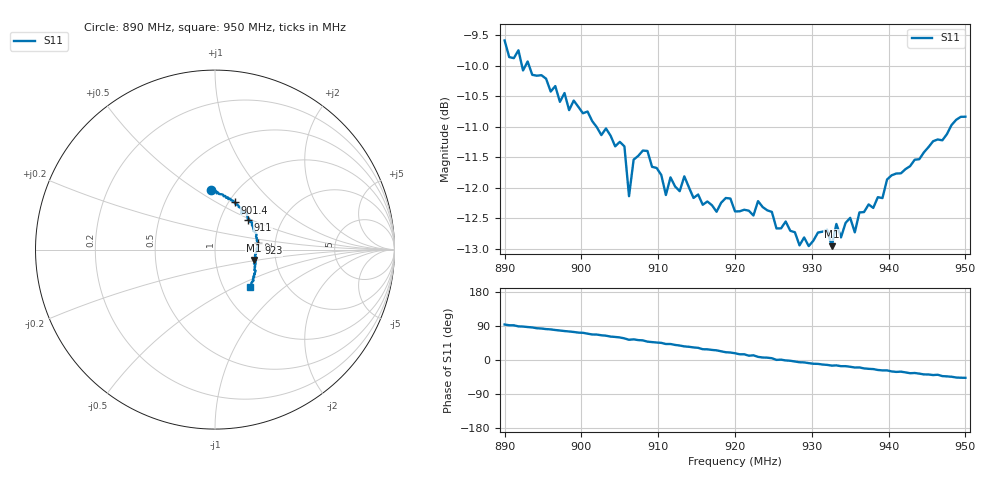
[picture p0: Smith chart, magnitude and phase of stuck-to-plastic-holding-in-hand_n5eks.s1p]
# HZ S RI R 50
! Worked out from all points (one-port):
!   101 points, 890 MHz to 950 MHz, reference 50 ohm
!   lowest |S11| = -13.0 dB at 932.6 MHz (marker M1), VSWR 1.58, Z = 77.1 - j9.34 ohm
!   |S11| at or under -10 dB: 892.255 MHz to 892.7251 MHz (470.1 kHz wide, 0.0527 % of centre); 893.2 MHz to end of sweep
!   S11 on the Smith chart (normalised r, x): 890 MHz: 0.77, +0.57; 901.4 MHz: 1.07, +0.61; 911 MHz: 1.35, +0.48; 923 MHz: 1.63, +0.12; 950 MHz: 1.33, -0.61
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8.9e8  -0.0212 0.3309
8.918e8  0.00731 0.3254
8.924e8  0.00916 0.3132
8.978e8  0.0708 0.2918
9.014e8  0.1098 0.2628
9.05e8  0.1389 0.236
9.056e8  0.1476 0.2279
9.062e8  0.1476 0.1982
9.068e8  0.1537 0.2156
9.08e8  0.1665 0.2117
9.11e8  0.1835 0.1664
9.116e8  0.1897 0.172
9.128e8  0.196 0.1543
9.134e8  0.2078 0.1505
9.158e8  0.2138 0.1158
9.2e8  0.2285 0.0738
9.23e8  0.2423 0.0352
9.278e8  0.2303 -0.0161
9.296e8  0.2226 -0.0323
9.32e8  0.2261 -0.0517
9.326e8  0.2174 -0.0575
9.332e8  0.2273 -0.0576
9.338e8  0.2194 -0.0642
9.35e8  0.2258 -0.0728
9.356e8  0.2171 -0.0783
9.362e8  0.2258 -0.0804
9.428e8  0.2146 -0.1495
9.5e8  0.1958 -0.21
